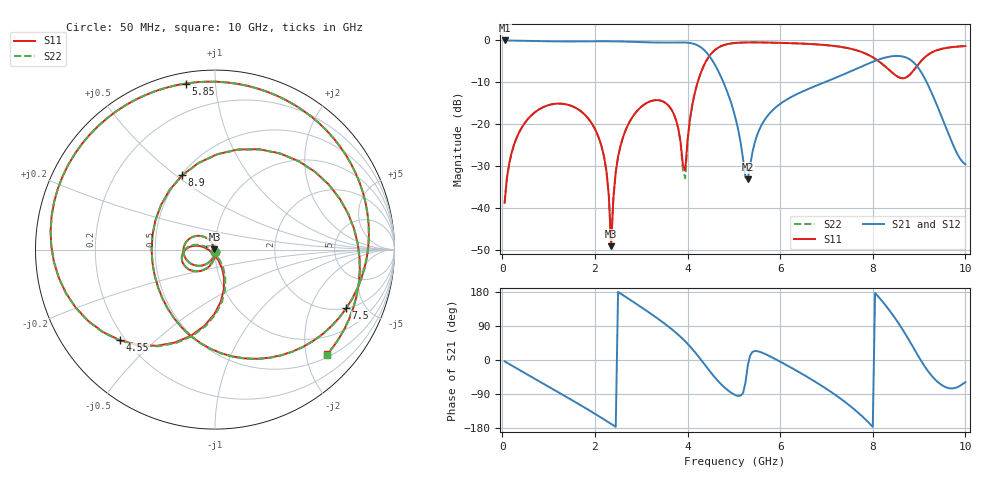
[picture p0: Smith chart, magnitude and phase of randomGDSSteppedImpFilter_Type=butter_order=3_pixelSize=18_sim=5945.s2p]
! freq	dB(S11)	phase(S11)	dB(S12)	phase(S12)
!  dB(S21)	phase(S21)	dB(S22)	phase(S22)
!S-par simulation data
#  GHz  S  DB  R 50
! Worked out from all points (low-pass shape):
!   200 points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, 50 MHz to 10 GHz, reference 50 ohm
!   highest |S21| = -0.01 dB at 50 MHz (marker M1); lowest = -33.2 dB at 5.3 GHz (marker M2)
!   |S21| within 3 dB of the highest: start of sweep to 4.419 GHz
!   lowest |S11| = -49.1 dB at 2.35 GHz (marker M3), VSWR 1.01, Z = 49.7 + j0.0557 ohm
!   |S11| at or under -10 dB: start of sweep to 4.219 GHz
!   |S22| runs from -47.7 to -0.5 dB; largest |S21 - S12| = 0
!   S11 on the Smith chart (normalised r, x): 50 MHz: 1.00, -0.02; 4.55 GHz: 0.18, -0.39; 5.85 GHz: 0.05, +0.84; 7.5 GHz: 2.00, -3.65; 8.9 GHz: 0.51, +0.53; 10 GHz: 0.56, -2.42
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0.05  -38.78 -91.9  -0.01 -3.6  -0.01 -3.6  -38.78 -91.9
0.2  -26.89 -104.1  -0.03 -14.3  -0.03 -14.3  -26.89 -104.1
0.55  -18.80 -129.4  -0.11 -39.0  -0.11 -39.0  -18.80 -129.4
1.75  -17.40 146.4  -0.23 -123.5  -0.23 -123.5  -17.40 146.5
2.2  -27.92 115.0  -0.20 -157.0  -0.20 -157.0  -27.90 116.0
2.35  -49.12 170.8  -0.21 -168.6  -0.21 -168.6  -47.69 176.5
2.45  -31.38 -91.2  -0.23 -176.4  -0.23 -176.4  -31.35 -93.6
2.6  -23.35 -100.4  -0.26 171.7  -0.26 171.7  -23.35 -101.6
3.4  -14.32 -163.5  -0.51 105.4  -0.51 105.4  -14.32 -164.7
3.75  -18.92 168.8  -0.47 72.0  -0.47 72.0  -18.97 165.9
3.95  -31.03 -101.6  -0.50 49.3  -0.50 49.3  -32.91 -93.3
4.15  -12.87 -77.5  -0.87 22.2  -0.87 22.2  -12.90 -75.6
4.55  -2.71 -136.4  -5.04 -40.3  -5.04 -40.3  -2.71 -135.9
5.05  -0.58 163.5  -19.16 -93.3  -19.16 -93.3  -0.59 163.6
5.3  -0.47 141.5  -33.15 -15.8  -33.15 -15.8  -0.48 141.5
5.85  -0.54 100.0  -16.53 5.4  -16.53 5.4  -0.54 99.9
6.7  -0.89 39.6  -11.16 -53.1  -11.16 -53.1  -0.89 39.3
7.5  -1.93 -24.1  -7.50 -120.2  -7.50 -120.2  -1.93 -24.4
8.35  -7.01 -120.5  -3.89 132.5  -3.89 132.5  -7.01 -120.7
8.9  -6.89 113.8  -5.45 27.9  -5.45 27.9  -6.89 113.4
9.4  -2.29 15.3  -15.86 -57.7  -15.86 -57.7  -2.29 14.9
10  -1.35 -43.1  -29.57 -58.5  -29.57 -58.5  -1.35 -43.4
